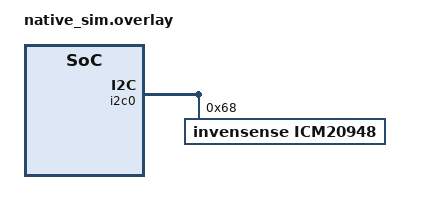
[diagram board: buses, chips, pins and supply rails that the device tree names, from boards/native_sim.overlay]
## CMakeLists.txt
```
cmake_minimum_required(VERSION 3.20.0)
find_package(Zephyr REQUIRED HINTS $ENV{ZEPHYR_BASE})
project(device)

FILE(GLOB app_sources src/*.c)
target_sources(app PRIVATE ${app_sources})

# Include the ICM-20948 driver path and unit-test path for private header inclusion
zephyr_include_directories(./src)
zephyr_include_directories(${ZEPHYR_DRIVERS_REPO_ROOT}/drivers/sensor/icm20948)
```

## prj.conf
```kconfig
CONFIG_ZTEST=y

CONFIG_SENSOR=y
CONFIG_SENSOR_LOG_LEVEL_DBG=y

CONFIG_EMUL=y

CONFIG_I2C=y
CONFIG_I2C_EMUL=y
CONFIG_I2C_LOG_LEVEL_DBG=y

CONFIG_ICM20948=n
CONFIG_ICM20948_OOT=y
```

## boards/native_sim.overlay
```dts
&i2c0 {
	status = "okay";

	icm20948: icm20948@68 {
		compatible = "invensense,icm20948";
		reg = <0x68>;
		status = "okay";
	};
};
```

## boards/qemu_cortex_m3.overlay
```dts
/*
 * Copyright (c) 2026 Richard Osterloh
 * SPDX-License-Identifier: Apache-2.0
 */

/ {
	fake_i2c_bus: i2c@100 {
		compatible = "zephyr,i2c-emul-controller";
		reg = <0x100 4>;
		clock-frequency = <100000>;
		#address-cells = <1>;
		#size-cells = <0>;
		status = "okay";

		icm20948: icm20948@68 {
			compatible = "invensense,icm20948";
			reg = <0x68>;
		};
	};
};
```

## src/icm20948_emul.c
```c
/*
 * Copyright (c) 2026 Richard Osterloh <richard.osterloh@gmail.com>
 * SPDX-License-Identifier: Apache-2.0
 *
 * Emulator for the TDK InvenSense ICM-20948 I2C IMU.
 *
 * The point of interest is the banked register map: the same address means
 * different things depending on the last write to REG_BANK_SEL, so this keeps
 * a register file per bank and routes every access through the currently
 * selected one. A driver that forgets to select a bank reads plausible
 * garbage on real hardware; here it reads a different bank's zeros, and the
 * test notices.
 */
#define DT_DRV_COMPAT invensense_icm20948

#include <zephyr/device.h>
#include <zephyr/drivers/emul.h>
#include <zephyr/drivers/i2c.h>
#include <zephyr/drivers/i2c_emul.h>
#include <zephyr/logging/log.h>
#include <zephyr/sys/byteorder.h>
#include <zephyr/sys/util.h>

#include <icm20948.h>
#include <icm20948_emul.h>

LOG_MODULE_REGISTER(ICM20948_EMUL, CONFIG_SENSOR_LOG_LEVEL);

struct icm20948_emul_cfg {
	uint16_t addr;
};

struct icm20948_emul_data {
	uint8_t reg[ICM20948_EMUL_BANKS][ICM20948_EMUL_REGS];
	uint8_t bank;
};

void icm20948_emul_reset(const struct emul *target)
{
	struct icm20948_emul_data *data = target->data;

	memset(data->reg, 0, sizeof(data->reg));
	data->bank = 0;
	data->reg[0][ICM20948_REG_WHO_AM_I] = ICM20948_WHO_AM_I_VAL;
}

void icm20948_emul_set_reg(const struct emul *target, uint8_t bank, uint8_t reg, uint8_t val)
{
	struct icm20948_emul_data *data = target->data;

	__ASSERT_NO_MSG(bank < ICM20948_EMUL_BANKS && reg < ICM20948_EMUL_REGS);
	data->reg[bank][reg] = val;
}

uint8_t icm20948_emul_get_reg(const struct emul *target, uint8_t bank, uint8_t reg)
{
	struct icm20948_emul_data *data = target->data;

	__ASSERT_NO_MSG(bank < ICM20948_EMUL_BANKS && reg < ICM20948_EMUL_REGS);
	return data->reg[bank][reg];
}

void icm20948_emul_set_sample(const struct emul *target, uint8_t reg, int16_t val)
{
	struct icm20948_emul_data *data = target->data;

	__ASSERT_NO_MSG(reg + 1 < ICM20948_EMUL_REGS);
	sys_put_be16((uint16_t)val, &data->reg[0][reg]);
}

uint8_t icm20948_emul_current_bank(const struct emul *target)
{
	struct icm20948_emul_data *data = target->data;

	return data->bank;
}

static void icm20948_emul_write(const struct emul *target, uint8_t reg, uint8_t val)
{
	struct icm20948_emul_data *data = target->data;

	if (reg == ICM20948_REG_BANK_SEL) {
		data->bank = val >> ICM20948_BANK_SHIFT;
		return;
	}

	data->reg[data->bank][reg] = val;

	/* A device reset clears the register file and drops the bank selection
	 * back to 0, which is why the driver re-selects it afterwards rather
	 * than assuming its earlier write survived. */
	if (reg == ICM20948_REG_PWR_MGMT_1 && (val & ICM20948_PWR_MGMT_1_RESET)) {
		icm20948_emul_reset(target);
	}
}

static int icm20948_emul_transfer_i2c(const struct emul *target, struct i2c_msg *msgs, int num_msgs,
				      int addr)
{
	struct icm20948_emul_data *data = target->data;

	i2c_dump_msgs_rw(target->dev, msgs, num_msgs, addr, false);

	if (num_msgs < 1 || msgs[0].len < 1 || (msgs[0].flags & I2C_MSG_READ)) {
		LOG_ERR("expected a leading register write, got %d msg(s)", num_msgs);
		return -EIO;
	}

	uint8_t reg = msgs[0].buf[0];

	if (num_msgs == 1) {
		/* Register write: [reg, val...] in one message. */
		for (uint32_t i = 1; i < msgs[0].len; i++) {
			if (reg + i - 1 >= ICM20948_EMUL_REGS) {
				return -EIO;
			}
			icm20948_emul_write(target, reg + i - 1, msgs[0].buf[i]);
		}
		return 0;
	}

	if (!(msgs[1].flags & I2C_MSG_READ)) {
		LOG_ERR("expected msg1 to be a read");
		return -EIO;
	}

	/* Register read, possibly a burst. */
	for (uint32_t i = 0; i < msgs[1].len; i++) {
		if (reg + i >= ICM20948_EMUL_REGS) {
			return -EIO;
		}
		msgs[1].buf[i] = data->reg[data->bank][reg + i];
	}

	return 0;
}

static int icm20948_emul_init(const struct emul *target, const struct device *parent)
{
	ARG_UNUSED(parent);
	icm20948_emul_reset(target);

	return 0;
}

static const struct i2c_emul_api icm20948_emul_api_i2c = {
	.transfer = icm20948_emul_transfer_i2c,
};

#define ICM20948_EMUL(n)                                                                           \
	static const struct icm20948_emul_cfg icm20948_emul_cfg_##n = {                            \
		.addr = DT_INST_REG_ADDR(n),                                                       \
	};                                                                                         \
	static struct icm20948_emul_data icm20948_emul_data_##n;                                   \
	EMUL_DT_INST_DEFINE(n, icm20948_emul_init, &icm20948_emul_data_##n,                        \
			    &icm20948_emul_cfg_##n, &icm20948_emul_api_i2c, NULL)

DT_INST_FOREACH_STATUS_OKAY(ICM20948_EMUL)
```

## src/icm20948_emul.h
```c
/*
 * Copyright (c) 2026 Richard Osterloh <richard.osterloh@gmail.com>
 * SPDX-License-Identifier: Apache-2.0
 */

#ifndef TESTS_DRIVERS_SENSOR_ICM20948_EMUL_H_
#define TESTS_DRIVERS_SENSOR_ICM20948_EMUL_H_

#include <zephyr/drivers/emul.h>

#define ICM20948_EMUL_BANKS 4
#define ICM20948_EMUL_REGS  128

/** Restore power-on register contents (WHO_AM_I answering, bank 0 selected). */
void icm20948_emul_reset(const struct emul *target);

/** Write one register in @p bank. */
void icm20948_emul_set_reg(const struct emul *target, uint8_t bank, uint8_t reg, uint8_t val);

/** Read one register from @p bank. */
uint8_t icm20948_emul_get_reg(const struct emul *target, uint8_t bank, uint8_t reg);

/** Place a big-endian 16-bit sample at @p reg in bank 0. */
void icm20948_emul_set_sample(const struct emul *target, uint8_t reg, int16_t val);

/** The bank the device is currently pointed at. */
uint8_t icm20948_emul_current_bank(const struct emul *target);

#endif /* TESTS_DRIVERS_SENSOR_ICM20948_EMUL_H_ */
```

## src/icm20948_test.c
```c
/*
 * Copyright (c) 2026 Richard Osterloh <richard.osterloh@gmail.com>
 * SPDX-License-Identifier: Apache-2.0
 */

#include <zephyr/device.h>
#include <zephyr/devicetree.h>
#include <zephyr/drivers/emul.h>
#include <zephyr/drivers/sensor.h>
#include <zephyr/ztest.h>

#include <icm20948.h>
#include <icm20948_emul.h>

#define ACCEL_XOUT_H ICM20948_REG_ACCEL_XOUT_H
#define GYRO_XOUT_H  (ICM20948_REG_ACCEL_XOUT_H + 6)
#define TEMP_OUT_H   (ICM20948_REG_ACCEL_XOUT_H + 12)

struct icm20948_fixture {
	const struct device *dev;
	const struct emul *target;
};

static void *icm20948_setup(void)
{
	static struct icm20948_fixture fixture = {
		.dev = DEVICE_DT_GET(DT_NODELABEL(icm20948)),
		.target = EMUL_DT_GET(DT_NODELABEL(icm20948)),
	};

	zassert_not_null(fixture.dev);
	zassert_not_null(fixture.target);
	return &fixture;
}

/**
 * @brief The device came up: WHO_AM_I matched and init returned success.
 */
ZTEST_F(icm20948, test_device_ready)
{
	zexpect_true(device_is_ready(fixture->dev));
}

/**
 * @brief Init leaves the part in bank 0, where the sample registers live.
 *
 * The register map is banked and nothing errors on a wrong bank, so a fetch
 * issued while bank 2 is selected would silently read configuration bytes as
 * acceleration.
 */
ZTEST_F(icm20948, test_init_leaves_bank_0)
{
	zexpect_equal(0, icm20948_emul_current_bank(fixture->target));
}

/**
 * @brief The full-scale selects reached bank 2, in the register's bit field.
 *
 * Both default to the part's power-on range, so the expected field value is 0
 * shifted into bits 2:1 — this is the check that the driver wrote them to the
 * right bank at all.
 */
ZTEST_F(icm20948, test_full_scale_written_to_bank_2)
{
	zexpect_equal(0 << ICM20948_FS_SEL_SHIFT,
		      icm20948_emul_get_reg(fixture->target, 2, ICM20948_REG_GYRO_CONFIG_1));
	zexpect_equal(0 << ICM20948_FS_SEL_SHIFT,
		      icm20948_emul_get_reg(fixture->target, 2, ICM20948_REG_ACCEL_CONFIG));
}

/**
 * @brief Accelerometer counts convert to m/s^2 at the default +/-2 g.
 *
 * 16384 LSB/g, so a full 16384 counts is exactly one g. The negative case is
 * here because val1 and val2 must carry the same sign for the sensor API, and
 * C division truncating toward zero is what makes that work.
 */
ZTEST_F(icm20948, test_accel_conversion)
{
	struct sensor_value val[3];

	icm20948_emul_set_sample(fixture->target, ACCEL_XOUT_H, 16384);
	icm20948_emul_set_sample(fixture->target, ACCEL_XOUT_H + 2, -16384);
	icm20948_emul_set_sample(fixture->target, ACCEL_XOUT_H + 4, 0);

	zassert_ok(sensor_sample_fetch(fixture->dev));
	zassert_ok(sensor_channel_get(fixture->dev, SENSOR_CHAN_ACCEL_XYZ, val));

	zexpect_equal(9, val[0].val1);
	zexpect_equal(806650, val[0].val2);
	zexpect_equal(-9, val[1].val1);
	zexpect_equal(-806650, val[1].val2);
	zexpect_equal(0, val[2].val1);
	zexpect_equal(0, val[2].val2);
}

/**
 * @brief Gyroscope counts convert to rad/s at the default +/-250 dps.
 *
 * 131 LSB/dps, so 131 counts is 1 deg/s = 0.017453 rad/s. This is the reading
 * that the fractional sensitivities (65.5, 32.8, 16.4 at the wider ranges)
 * would round away if they were held as whole LSB.
 */
ZTEST_F(icm20948, test_gyro_conversion)
{
	struct sensor_value val[3];

	icm20948_emul_set_sample(fixture->target, GYRO_XOUT_H, 131);
	icm20948_emul_set_sample(fixture->target, GYRO_XOUT_H + 2, -131);
	icm20948_emul_set_sample(fixture->target, GYRO_XOUT_H + 4, 0);

	zassert_ok(sensor_sample_fetch(fixture->dev));
	zassert_ok(sensor_channel_get(fixture->dev, SENSOR_CHAN_GYRO_XYZ, val));

	zexpect_equal(0, val[0].val1);
	zexpect_equal(17453, val[0].val2);
	zexpect_equal(0, val[1].val1);
	zexpect_equal(-17453, val[1].val2);
	zexpect_equal(0, val[2].val2);
}

/**
 * @brief Die temperature applies the datasheet's offset, not just the scale.
 *
 * raw/333.87 + 21 degC. A driver that dropped the +21 would read a plausible
 * room temperature as 0, so the zero-count case is the one that catches it.
 */
ZTEST_F(icm20948, test_temp_conversion)
{
	struct sensor_value val;

	icm20948_emul_set_sample(fixture->target, TEMP_OUT_H, 0);

	zassert_ok(sensor_sample_fetch(fixture->dev));
	zassert_ok(sensor_channel_get(fixture->dev, SENSOR_CHAN_DIE_TEMP, &val));

	zexpect_equal(21, val.val1);
	zexpect_equal(0, val.val2);
}

/**
 * @brief A fetch reads all three sensors in one burst.
 *
 * The part latches the sample registers as a set, so a driver that read them
 * per channel could mix two samples. Loading all three and asking for one
 * proves the burst covered the whole block.
 */
ZTEST_F(icm20948, test_single_burst_covers_all_channels)
{
	struct sensor_value accel, gyro, temp;

	icm20948_emul_set_sample(fixture->target, ACCEL_XOUT_H + 4, 16384);
	icm20948_emul_set_sample(fixture->target, GYRO_XOUT_H, 131);
	icm20948_emul_set_sample(fixture->target, TEMP_OUT_H, 0);

	zassert_ok(sensor_sample_fetch(fixture->dev));
	zassert_ok(sensor_channel_get(fixture->dev, SENSOR_CHAN_ACCEL_Z, &accel));
	zassert_ok(sensor_channel_get(fixture->dev, SENSOR_CHAN_GYRO_X, &gyro));
	zassert_ok(sensor_channel_get(fixture->dev, SENSOR_CHAN_DIE_TEMP, &temp));

	zexpect_equal(9, accel.val1);
	zexpect_equal(17453, gyro.val2);
	zexpect_equal(21, temp.val1);
}

/**
 * @brief An unsupported channel is refused rather than answered with zeros.
 */
ZTEST_F(icm20948, test_unsupported_channel)
{
	struct sensor_value val;

	zassert_ok(sensor_sample_fetch(fixture->dev));
	zexpect_equal(-ENOTSUP, sensor_channel_get(fixture->dev, SENSOR_CHAN_MAGN_XYZ, &val));
}

ZTEST_SUITE(icm20948, NULL, icm20948_setup, NULL, NULL, NULL);
```
